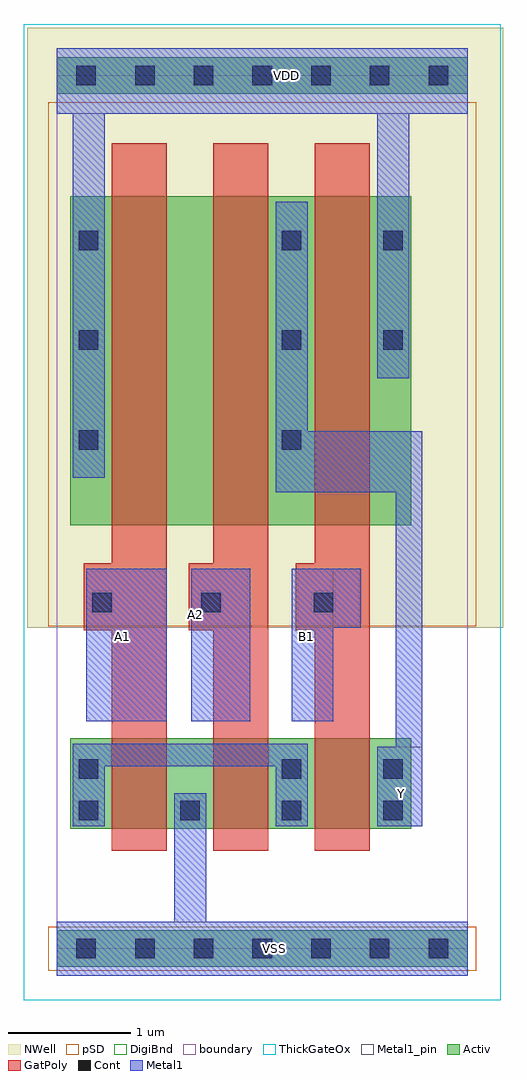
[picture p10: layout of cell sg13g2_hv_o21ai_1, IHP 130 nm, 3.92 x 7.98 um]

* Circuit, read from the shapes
.subckt sg13g2_hv_o21ai_1 A1 A2 B1 VDD VSS Y
XM1 VSS A1 n1 VSS sg13_hv_nmos w=0.74u l=0.45u
XM2 n1 A2 VSS VSS sg13_hv_nmos w=0.74u l=0.45u
XM3 Y B1 n1 VSS sg13_hv_nmos w=0.74u l=0.45u
XM4 n2 A1 VDD VDD sg13_hv_pmos w=2.69u l=0.45u
XM5 Y A2 n2 VDD sg13_hv_pmos w=2.69u l=0.45u
XM6 VDD B1 Y VDD sg13_hv_pmos w=2.69u l=0.45u
.ends

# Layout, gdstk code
import gdstk
lib = gdstk.Library(unit=1e-6, precision=1e-09)
def R(c, l, rs):  # rectangles x0, y0, x1, y1
    for r in rs: c.add(gdstk.rectangle(r[:2], r[2:], *l))
def A(c, l, x, y, w, h, nx, ny, dx, dy):  # array of equal rectangles
    R(c, l, [(x+i*dx, y+j*dy, x+i*dx+w, y+j*dy+h) for i in range(nx) for j in range(ny)])
def P(c, l, *ps):  # polygons
    for p in ps: c.add(gdstk.Polygon(p, *l))
Activ = (1, 0)
GatPoly = (5, 0)
Cont = (6, 0)
Metal1 = (8, 0)
Metal1_pin = (8, 2)
pSD = (14, 0)
DigiBnd = (16, 0)
NWell = (31, 0)
ThickGateOx = (44, 0)
boundary = (189, 4)

sg13g2_hv_o21ai_1 = lib.new_cell('sg13g2_hv_o21ai_1')
R(sg13g2_hv_o21ai_1, Activ, [(0,-0.15,3.36,0.15), (0.11,0.98,2.9,1.72), (0.11,3.46,2.9,6.15), (0,6.99,3.36,7.29)])
R(sg13g2_hv_o21ai_1, GatPoly, [(2.11,0.8,2.56,1.9)])
P(sg13g2_hv_o21ai_1, GatPoly, [(0.45,0.8),(0.45,2.605),(0.22,2.605),(0.22,3.15),(0.45,3.15),(0.45,6.585),(0.9,6.585),(0.9,0.8)],
  [(1.28,0.8),(1.28,2.605),(1.08,2.605),(1.08,3.15),(1.28,3.15),(1.28,6.585),(1.73,6.585),(1.73,0.8)],
  [(2.11,1.9),(2.11,2.605),(1.955,2.605),(1.955,3.15),(2.11,3.15),(2.11,6.585),(2.56,6.585),(2.56,1.9)])
A(sg13g2_hv_o21ai_1, Cont, 0.16, -0.08, 0.16, 0.16, 7, 2, 0.48, 7.14)
A(sg13g2_hv_o21ai_1, Cont, 0.18, 1.05, 0.16, 0.16, 4, 1, 0.83, 0)
A(sg13g2_hv_o21ai_1, Cont, 0.18, 4.08, 0.16, 0.16, 1, 3, 0, 0.815)
A(sg13g2_hv_o21ai_1, Cont, 1.84, 4.08, 0.16, 0.16, 1, 3, 0, 0.815)
R(sg13g2_hv_o21ai_1, Cont, [(0.18,1.39,0.34,1.55), (1.84,1.39,2,1.55), (2.67,1.39,2.83,1.55), (0.29,2.75,0.45,2.91), (1.18,2.75,1.34,2.91), (2.1,2.75,2.26,2.91), (2.67,4.895,2.83,5.055), (2.67,5.71,2.83,5.87)])
R(sg13g2_hv_o21ai_1, Metal1, [(0.24,1.86,0.9,3.105), (1.1,1.86,1.58,3.105), (2.62,4.665,2.88,6.825)])
P(sg13g2_hv_o21ai_1, Metal1, [(0,-0.22),(0,0.22),(0.96,0.22),(0.96,1.27),(1.22,1.27),(1.22,0.22),(3.36,0.22),(3.36,-0.22)],
  [(0.13,3.85),(0.13,6.825),(0,6.825),(0,7.36),(3.36,7.36),(3.36,6.825),(0.39,6.825),(0.39,3.85)],
  [(0.13,1),(0.13,1.675),(2.05,1.675),(2.05,1),(1.79,1),(1.79,1.49),(0.39,1.49),(0.39,1)],
  [(1.92,1.86),(1.92,3.105),(2.485,3.105),(2.485,2.625),(2.26,2.625),(2.26,1.86)],
  [(2.62,1),(2.62,1.65),(2.77,1.65),(2.77,3.73),(1.79,3.73),(1.79,6.105),(2.05,6.105),(2.05,4.23),(2.99,4.23),(2.99,1)])
R(sg13g2_hv_o21ai_1, Metal1_pin, [(0,-0.22,3.36,0.22), (2.62,1,2.99,1.65), (0.24,1.86,0.9,3.105), (1.1,1.86,1.58,3.105), (1.92,1.86,2.26,3.105), (0,6.825,3.36,7.36)])
R(sg13g2_hv_o21ai_1, pSD, [(-0.07,-0.18,3.43,0.18), (-0.07,2.635,3.43,6.92)])
R(sg13g2_hv_o21ai_1, DigiBnd, [(0,0,3.36,7.14)])
R(sg13g2_hv_o21ai_1, NWell, [(-0.24,2.625,3.65,7.53)])
R(sg13g2_hv_o21ai_1, ThickGateOx, [(-0.27,-0.42,3.63,7.56)])
R(sg13g2_hv_o21ai_1, boundary, [(0,0,3.36,7.14)])
sg13g2_hv_o21ai_1.add(gdstk.Label('VSS', (1.78,0), layer=8, texttype=25))
sg13g2_hv_o21ai_1.add(gdstk.Label('VDD', (1.875,7.14), layer=8, texttype=25))
sg13g2_hv_o21ai_1.add(gdstk.Label('Y', (2.82,1.27), layer=8, texttype=25))
sg13g2_hv_o21ai_1.add(gdstk.Label('B1', (2.04,2.555), layer=8, texttype=25))
sg13g2_hv_o21ai_1.add(gdstk.Label('A2', (1.135,2.735), layer=8, texttype=25))
sg13g2_hv_o21ai_1.add(gdstk.Label('A1', (0.54,2.555), layer=8, texttype=25))

lib.write_gds('sg13g2_hv_o21ai_1.gds')
